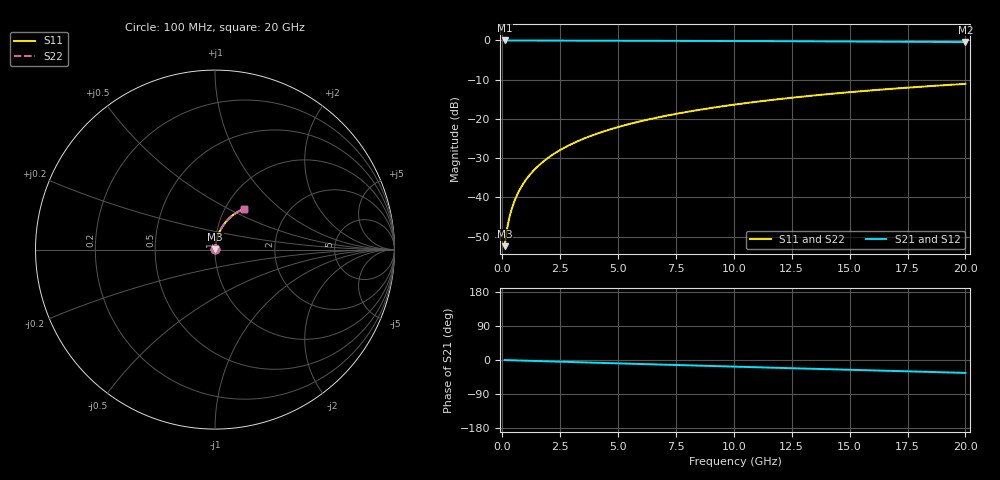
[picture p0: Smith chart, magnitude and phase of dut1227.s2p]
! Touchstone file exported from HFSS 2026.1.0
!  File:  C:/ffzhzh/LocalFiles/Ansys_Project_Files/temp_train_BSMRDL_1227_1783176910_43440.aedt
!  Generated:  10:56:28 PM Jul  4, 2026
!  Design:  BSMRDL
!  Project:  temp_train_BSMRDL_1227_1783176910_43440
! Variables:
!  h_bsmrdl = 4.45um
!  h_ox = 20um
!  h_rdl = 5um
!  h_sub = 80um
!  h_tmrdl = 5um
!  h_tsv = 80um
!  h_via = 3um
!  l_bsmrdl = 499.22um
!  l_sub = 899.22um
!  l_tmrdl = 200um
!  m_sub = 200um
!  pitch = 54.82um
!  r_tsv = 6um
!  s_tmrdl = 10um
!  w_bsmrdl = 29.62um
!  w_sub = 500um
!  w_tmrdl = 12um
!  x_tsv_center1 = 206um
!  x_tsv_center2 = 734.84um
!  x_tsv_center3 = 946.84um
!  x_tsv_center4 = 1475.68um
!  x_tsv_center5 = 1687.68um
!  x_tsv_center6 = 2216.52um
# GHz S MA R 50.000000
! Terminal data exported
! Port[1] = BSM_RDL1_1_T1
! Port[2] = BSM_RDL1_1_T2
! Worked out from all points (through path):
!   200 points, 100 MHz to 20 GHz, reference 50 ohm
!   highest |S21| = -0.01 dB at 100 MHz (marker M1); lowest = -0.4 dB at 20 GHz (marker M2)
!   group delay of S21, straight-line fit = 4.72 ps
!   lowest |S11| = -52.4 dB at 100 MHz (marker M3), VSWR 1.00, Z = 50.2 + j0.18 ohm
!   |S11| at or under -10 dB: start of sweep to end of sweep
!   |S22| runs from -52.4 to -11.1 dB; largest |S21 - S12| = 4e-15
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0.1  0.002393 48.7  0.9984 -0.2  0.9984 -0.2  0.002393 48.7
! Gamma 0 0 0 0
! Port Impedance 50 0 50 0
0.2  0.003912 63.7  0.9983 -0.4  0.9983 -0.4  0.003912 63.7
0.3  0.005473 69.8  0.9982 -0.6  0.9982 -0.6  0.005473 69.8
0.4  0.007025 73.3  0.9981 -0.7  0.9981 -0.7  0.007026 73.3
0.5  0.008577 75.6  0.998 -0.9  0.998 -0.9  0.008578 75.6
0.7  0.0117 78.4  0.9979 -1.3  0.9979 -1.3  0.0117 78.4
0.8  0.01327 79.3  0.9978 -1.4  0.9978 -1.4  0.01327 79.3
1  0.01642 80.5  0.9977 -1.8  0.9977 -1.8  0.01642 80.5
1.2  0.01959 81.2  0.9976 -2.2  0.9976 -2.2  0.01959 81.2
1.4  0.02276 81.6  0.9975 -2.5  0.9975 -2.5  0.02276 81.6
1.7  0.02751 81.9  0.9973 -3.1  0.9973 -3.1  0.02751 81.9
2  0.03227 81.9  0.997 -3.6  0.997 -3.6  0.03227 81.9
2.7  0.0433 81.4  0.9963 -4.8  0.9963 -4.8  0.0433 81.4
3.5  0.05578 80.4  0.9952 -6.3  0.9952 -6.3  0.05577 80.4
4.2  0.06657 79.4  0.9942 -7.5  0.9942 -7.5  0.06657 79.4
5  0.07876 78.2  0.9929 -8.9  0.9929 -8.9  0.07876 78.2
6.8  0.1057 75.4  0.9896 -12.0  0.9896 -12.0  0.1057 75.4
8.3  0.1275 73.0  0.9864 -14.6  0.9864 -14.6  0.1275 73.0
10.1  0.1531 70.1  0.9822 -17.7  0.9822 -17.7  0.1531 70.1
13.4  0.1982 64.8  0.9733 -23.2  0.9733 -23.2  0.1982 64.8
16.7  0.2404 59.6  0.9632 -28.7  0.9632 -28.7  0.2404 59.6
20  0.2794 54.4  0.9522 -34.0  0.9522 -34.0  0.2794 54.4
